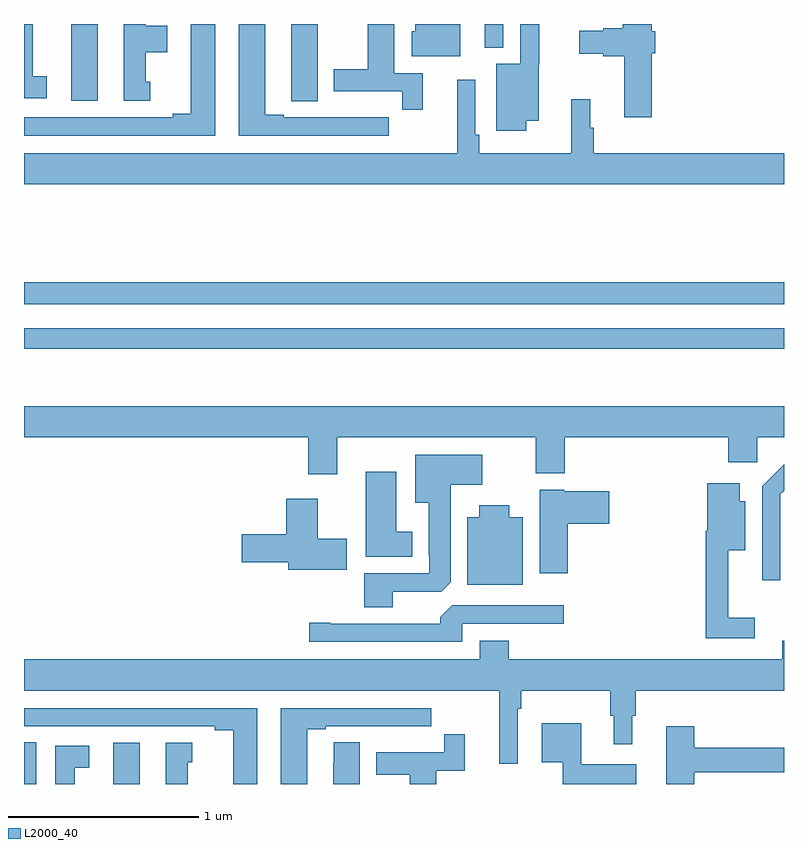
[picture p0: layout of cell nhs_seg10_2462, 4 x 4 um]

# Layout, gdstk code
import gdstk
lib = gdstk.Library(unit=1e-6, precision=1e-09)
def R(c, l, rs):  # rectangles x0, y0, x1, y1
    for r in rs: c.add(gdstk.rectangle(r[:2], r[2:], *l))
def P(c, l, *ps):  # polygons
    for p in ps: c.add(gdstk.Polygon(p, *l))
L2000_40 = (2000, 40)

nhs_seg10_2462 = lib.new_cell('nhs_seg10_2462')
R(nhs_seg10_2462, L2000_40, [(243,1290.5,243.064,1290.719), (243.47,1290.5,243.61,1290.718), (243,1292.79,247,1292.898), (243,1293.024,247,1293.14), (243.248,1294.095,243.388,1294.5), (245.426,1294.376,245.523,1294.5)])
P(nhs_seg10_2462, L2000_40, [(245.099,1294.242),(244.948,1294.242),(244.948,1294.5),(244.808,1294.5),(244.808,1294.263),(244.631,1294.263),(244.631,1294.146),(244.99,1294.146),(244.99,1294.05),(245.099,1294.05)],
  [(243.121,1294.226),(243.046,1294.226),(243.046,1294.5),(243,1294.5),(243,1294.11),(243.121,1294.11)],
  [(245.644,1293.992),(245.71,1293.992),(245.71,1294.287),(245.711,1294.287),(245.711,1294.5),(245.613,1294.5),(245.613,1294.291),(245.486,1294.291),(245.486,1293.939),(245.644,1293.939)],
  [(244.921,1294.008),(244.808,1294.008),(244.808,1294.009),(244.642,1294.009),(244.642,1294.008),(244.366,1294.008),(244.366,1294.023),(244.27,1294.023),(244.27,1294.5),(244.13,1294.5),(244.13,1293.912),(244.921,1293.912)],
  [(245.296,1294.5),(245.06,1294.5),(245.06,1294.461),(245.042,1294.461),(245.042,1294.331),(245.296,1294.331)],
  [(243.664,1294.197),(243.64,1294.197),(243.64,1294.352),(243.754,1294.352),(243.754,1294.492),(243.64,1294.492),(243.64,1294.5),(243.524,1294.5),(243.524,1294.095),(243.664,1294.095)],
  [(246.305,1294.347),(246.323,1294.347),(246.323,1294.461),(246.305,1294.461),(246.305,1294.5),(246.151,1294.5),(246.151,1294.478),(246.048,1294.478),(246.048,1294.465),(245.922,1294.465),(245.922,1294.343),(246.048,1294.343),(246.048,1294.331),(246.158,1294.331),(246.158,1294.008),(246.305,1294.008)],
  [(244.006,1294.5),(243.878,1294.5),(243.878,1294.028),(243.782,1294.028),(243.782,1294.008),(243,1294.008),(243,1293.912),(244.006,1293.912)],
  [(244.546,1294.5),(244.406,1294.5),(244.406,1294.201),(244.407,1294.201),(244.407,1294.093),(244.546,1294.093)],
  [(247,1293.82),(245.999,1293.82),(245.999,1293.954),(245.98,1293.954),(245.98,1294.105),(245.881,1294.105),(245.881,1293.82),(245.396,1293.82),(245.396,1293.916),(245.376,1293.916),(245.376,1294.207),(245.279,1294.207),(245.279,1293.82),(243,1293.82),(243,1293.656),(247,1293.656)],
  [(244.648,1292.324),(245.693,1292.324),(245.693,1292.135),(245.846,1292.135),(245.846,1292.324),(246.707,1292.324),(246.707,1292.193),(246.858,1292.193),(246.858,1292.324),(247,1292.324),(247,1292.488),(243,1292.488),(243,1292.324),(244.496,1292.324),(244.496,1292.13),(244.648,1292.13)],
  [(244.942,1291.512),(245.196,1291.512),(245.245,1291.561),(245.245,1292.075),(245.413,1292.075),(245.413,1292.233),(245.06,1292.233),(245.06,1291.979),(245.129,1291.979),(245.129,1291.705),(245.133,1291.705),(245.133,1291.608),(244.79,1291.608),(244.79,1291.429),(244.942,1291.429)],
  [(246.981,1292.025),(247,1292.044),(247,1292.182),(246.885,1292.067),(246.885,1291.572),(246.981,1291.572)],
  [(245.044,1291.828),(244.96,1291.828),(244.96,1292.143),(244.799,1292.143),(244.799,1291.697),(245.044,1291.697)],
  [(246.847,1291.375),(246.707,1291.375),(246.707,1291.73),(246.796,1291.73),(246.796,1291.987),(246.766,1291.987),(246.766,1292.083),(246.596,1292.083),(246.596,1291.834),(246.589,1291.834),(246.589,1291.266),(246.847,1291.266)],
  [(245.861,1291.871),(246.079,1291.871),(246.079,1292.041),(245.844,1292.041),(245.844,1292.05),(245.714,1292.05),(245.714,1291.608),(245.861,1291.608)],
  [(244.699,1291.791),(244.546,1291.791),(244.546,1292.002),(244.379,1292.002),(244.379,1291.814),(244.146,1291.814),(244.146,1291.667),(244.391,1291.667),(244.391,1291.628),(244.699,1291.628)],
  [(245.626,1291.903),(245.554,1291.903),(245.554,1291.966),(245.396,1291.966),(245.396,1291.903),(245.333,1291.903),(245.333,1291.55),(245.626,1291.55)],
  [(245.307,1291.344),(245.842,1291.344),(245.842,1291.44),(245.253,1291.44),(245.192,1291.378),(245.192,1291.344),(244.612,1291.344),(244.612,1291.349),(244.5,1291.349),(244.5,1291.248),(245.307,1291.248)],
  [(245.598,1290.896),(245.618,1290.896),(245.618,1290.992),(246.085,1290.992),(246.085,1290.858),(246.104,1290.858),(246.104,1290.708),(246.202,1290.708),(246.202,1290.858),(246.221,1290.858),(246.221,1290.992),(247,1290.992),(247,1291.254),(246.992,1291.254),(246.992,1291.156),(245.552,1291.156),(245.552,1291.255),(245.399,1291.255),(245.399,1291.156),(243,1291.156),(243,1290.992),(245.501,1290.992),(245.501,1290.606),(245.598,1290.606)],
  [(244.492,1290.789),(244.588,1290.789),(244.588,1290.804),(244.864,1290.804),(244.864,1290.803),(245.03,1290.803),(245.03,1290.804),(245.143,1290.804),(245.143,1290.9),(244.352,1290.9),(244.352,1290.5),(244.492,1290.5)],
  [(244.228,1290.9),(243,1290.9),(243,1290.804),(244.004,1290.804),(244.004,1290.784),(244.1,1290.784),(244.1,1290.5),(244.228,1290.5)],
  [(246.223,1290.604),(245.932,1290.604),(245.932,1290.82),(245.726,1290.82),(245.726,1290.614),(245.835,1290.614),(245.835,1290.5),(246.223,1290.5)],
  [(246.527,1290.562),(247,1290.562),(247,1290.691),(246.527,1290.691),(246.527,1290.805),(246.38,1290.805),(246.38,1290.5),(246.527,1290.5)],
  [(245.17,1290.57),(245.321,1290.57),(245.321,1290.763),(245.212,1290.763),(245.212,1290.666),(244.853,1290.666),(244.853,1290.55),(245.03,1290.55),(245.03,1290.5),(245.17,1290.5)],
  [(244.768,1290.719),(244.629,1290.719),(244.629,1290.611),(244.628,1290.611),(244.628,1290.5),(244.768,1290.5)],
  [(243.862,1290.615),(243.886,1290.615),(243.886,1290.718),(243.746,1290.718),(243.746,1290.5),(243.862,1290.5)],
  [(243.268,1290.586),(243.343,1290.586),(243.343,1290.702),(243.164,1290.702),(243.164,1290.5),(243.268,1290.5)])

lib.write_gds('nhs_seg10_2462.gds')
